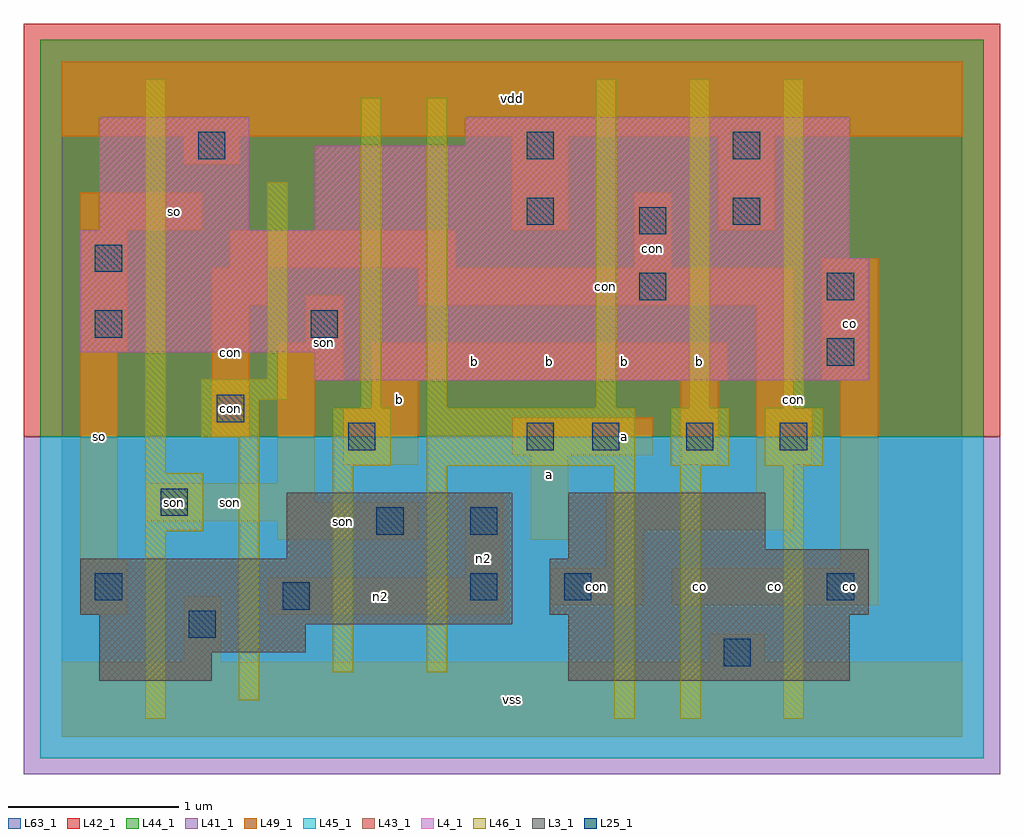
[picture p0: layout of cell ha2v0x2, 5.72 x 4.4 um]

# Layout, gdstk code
import gdstk
lib = gdstk.Library(unit=1e-6, precision=1e-09)
def R(c, l, rs):  # rectangles x0, y0, x1, y1
    for r in rs: c.add(gdstk.rectangle(r[:2], r[2:], *l))
def A(c, l, x, y, w, h, nx, ny, dx, dy):  # array of equal rectangles
    R(c, l, [(x+i*dx, y+j*dy, x+i*dx+w, y+j*dy+h) for i in range(nx) for j in range(ny)])
L3_1 = (3, 1)
L4_1 = (4, 1)
L25_1 = (25, 1)
L41_1 = (41, 1)
L42_1 = (42, 1)
L43_1 = (43, 1)
L44_1 = (44, 1)
L45_1 = (45, 1)
L46_1 = (46, 1)
L49_1 = (49, 1)
L63_1 = (63, 1)

ha2v0x2 = lib.new_cell('ha2v0x2')
R(ha2v0x2, L3_1, [(0.22,0.33,0.88,0.495), (2.97,0.33,4.62,0.715), (0.22,0.495,1.43,0.66), (0.22,0.66,2.64,0.715), (0.11,0.715,2.64,1.045), (2.86,0.715,4.73,1.045), (1.32,1.045,2.64,1.43), (2.97,1.045,4.73,1.1), (2.97,1.1,4.125,1.43)])
R(ha2v0x2, L4_1, [(1.485,2.09,4.73,2.255), (0.11,2.255,4.73,2.805), (0.11,2.805,4.62,2.97), (0.22,2.97,1.1,3.63), (1.485,2.97,4.62,3.465), (2.365,3.465,4.62,3.63)])
A(ha2v0x2, L25_1, 3.11, 1.68, 0.16, 0.16, 3, 1, 0.55, 0)
R(ha2v0x2, L25_1, [(3.88,0.415,4.04,0.575), (0.745,0.58,0.905,0.74), (1.295,0.745,1.455,0.905), (0.195,0.8,0.355,0.96), (2.395,0.8,2.555,0.96), (2.945,0.8,3.105,0.96), (4.485,0.8,4.645,0.96), (1.845,1.185,2.005,1.345), (2.395,1.185,2.555,1.345), (0.58,1.295,0.74,1.455), (1.68,1.68,1.84,1.84), (2.725,1.68,2.885,1.84), (0.91,1.845,1.07,2.005), (4.485,2.175,4.645,2.335), (0.195,2.34,0.355,2.5), (1.46,2.34,1.62,2.5), (3.385,2.56,3.545,2.72), (4.485,2.56,4.645,2.72), (0.195,2.725,0.355,2.885), (3.385,2.945,3.545,3.105), (2.725,3,2.885,3.16), (3.935,3,4.095,3.16), (0.8,3.385,0.96,3.545), (2.725,3.385,2.885,3.545), (3.935,3.385,4.095,3.545)])
R(ha2v0x2, L41_1, [(-0.22,-0.22,5.5,1.76)])
R(ha2v0x2, L42_1, [(-0.22,1.76,5.5,4.18)])
R(ha2v0x2, L43_1, [(0.22,0.33,0.88,0.495), (2.97,0.33,4.62,0.715), (0.22,0.495,1.43,0.66), (0.22,0.66,2.64,0.715), (0.11,0.715,2.64,1.045), (2.86,0.715,4.73,1.045), (1.32,1.045,2.64,1.43), (2.97,1.045,4.73,1.1), (2.97,1.1,4.125,1.43), (1.485,2.09,4.73,2.255), (0.11,2.255,4.73,2.805), (0.11,2.805,4.62,2.97), (0.22,2.97,1.1,3.63), (1.485,2.97,4.62,3.465), (2.365,3.465,4.62,3.63)])
R(ha2v0x2, L44_1, [(-0.125,1.76,5.405,4.085)])
R(ha2v0x2, L45_1, [(-0.125,-0.125,5.405,1.76)])
A(ha2v0x2, L46_1, 3.13, 1.93, 0.12, 1.925, 3, 1, 0.55, 0)
R(ha2v0x2, L46_1, [(0.49,0.105,0.61,1.205), (3.24,0.105,3.36,1.59), (3.625,0.105,3.745,1.59), (4.23,0.105,4.35,1.59), (1.04,0.215,1.16,1.755), (1.59,0.38,1.71,1.59), (2.14,0.38,2.26,1.59), (0.49,1.205,0.83,1.545), (0.49,1.545,0.61,3.855), (1.59,1.59,1.93,1.93), (2.14,1.59,3.36,1.93), (3.57,1.59,3.91,1.93), (4.12,1.59,4.46,1.93), (0.82,1.755,1.16,1.975), (1.755,1.93,1.875,3.745), (2.14,1.93,2.26,3.745), (0.82,1.975,1.325,2.095), (1.205,2.095,1.325,3.25)])
R(ha2v0x2, L49_1, [(0,0,5.28,0.44), (0.715,0.44,0.935,0.825), (3.795,0.44,4.125,0.605), (0.11,0.715,0.385,1.045), (1.21,0.715,2.585,0.935), (2.86,0.77,3.41,0.99), (3.575,0.77,4.785,0.99), (2.365,0.935,2.585,1.43), (3.19,0.99,3.41,1.21), (4.565,0.99,4.785,2.09), (0.11,1.045,0.33,2.255), (1.265,1.155,2.09,1.265), (2.75,1.155,2.97,1.65), (3.19,1.21,4.29,1.43), (0.495,1.265,2.09,1.375), (0.495,1.375,1.485,1.485), (4.07,1.43,4.29,1.595), (1.265,1.485,1.485,2.09), (1.65,1.595,2.09,1.925), (3.63,1.595,3.85,2.09), (4.07,1.595,4.4,1.925), (2.64,1.65,3.465,1.87), (0.88,1.76,1.1,2.53), (1.815,1.925,2.09,2.09), (4.07,1.925,4.29,2.53), (1.265,2.09,1.65,2.31), (1.815,2.09,3.905,2.31), (4.455,2.09,4.785,2.805), (0.11,2.255,0.385,2.97), (1.43,2.31,1.65,2.585), (0.88,2.53,1.21,2.75), (2.09,2.53,4.29,2.75), (0.99,2.75,2.31,2.97), (3.355,2.75,3.575,3.19), (0.11,2.97,0.825,3.19), (2.64,2.97,2.97,3.52), (3.85,2.97,4.18,3.52), (0.715,3.355,1.045,3.52), (0,3.52,5.28,3.96)])
R(ha2v0x2, L63_1, [(0,0,5.28,3.96)])
ha2v0x2.add(gdstk.Label('son', (0.66,1.375), layer=49, texttype=1))
ha2v0x2.add(gdstk.Label('con', (0.99,1.925), layer=49, texttype=1))
ha2v0x2.add(gdstk.Label('con', (4.29,1.98), layer=46, texttype=1))
ha2v0x2.add(gdstk.Label('so', (0.22,1.76), layer=49, texttype=1))
ha2v0x2.add(gdstk.Label('so', (0.66,3.08), layer=49, texttype=1))
ha2v0x2.add(gdstk.Label('son', (0.99,1.375), layer=49, texttype=1))
ha2v0x2.add(gdstk.Label('son', (1.54,2.31), layer=49, texttype=1))
ha2v0x2.add(gdstk.Label('con', (0.99,2.255), layer=49, texttype=1))
ha2v0x2.add(gdstk.Label('vss', (2.64,0.22), layer=49, texttype=1))
ha2v0x2.add(gdstk.Label('n2', (2.475,1.045), layer=49, texttype=1))
ha2v0x2.add(gdstk.Label('n2', (1.87,0.825), layer=49, texttype=1))
ha2v0x2.add(gdstk.Label('son', (1.65,1.265), layer=49, texttype=1))
ha2v0x2.add(gdstk.Label('a', (2.86,1.54), layer=49, texttype=1))
ha2v0x2.add(gdstk.Label('b', (1.98,1.98), layer=49, texttype=1))
ha2v0x2.add(gdstk.Label('b', (2.86,2.2), layer=49, texttype=1))
ha2v0x2.add(gdstk.Label('b', (2.42,2.2), layer=49, texttype=1))
ha2v0x2.add(gdstk.Label('vdd', (2.64,3.74), layer=49, texttype=1))
ha2v0x2.add(gdstk.Label('co', (3.74,0.88), layer=49, texttype=1))
ha2v0x2.add(gdstk.Label('co', (4.18,0.88), layer=49, texttype=1))
ha2v0x2.add(gdstk.Label('con', (3.135,0.88), layer=49, texttype=1))
ha2v0x2.add(gdstk.Label('a', (3.3,1.76), layer=49, texttype=1))
ha2v0x2.add(gdstk.Label('b', (3.3,2.2), layer=49, texttype=1))
ha2v0x2.add(gdstk.Label('b', (3.74,2.2), layer=49, texttype=1))
ha2v0x2.add(gdstk.Label('con', (4.18,1.98), layer=49, texttype=1))
ha2v0x2.add(gdstk.Label('con', (3.19,2.64), layer=49, texttype=1))
ha2v0x2.add(gdstk.Label('con', (3.465,2.86), layer=49, texttype=1))
ha2v0x2.add(gdstk.Label('co', (4.62,0.88), layer=49, texttype=1))
ha2v0x2.add(gdstk.Label('co', (4.62,2.42), layer=49, texttype=1))

lib.write_gds('ha2v0x2.gds')
